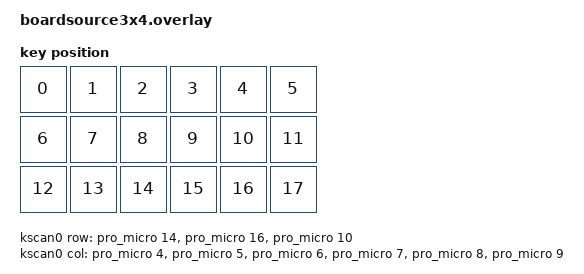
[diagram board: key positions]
/*
 * Copyright (c) 2020 The ZMK Contributors
 *
 * SPDX-License-Identifier: MIT
 */

#include <dt-bindings/zmk/matrix_transform.h>

/ {
    chosen {
        zmk,kscan = &kscan0;
    };

    kscan0: kscan {
        compatible = "zmk,kscan-gpio-matrix";
        wakeup-source;

        diode-direction = "col2row";

         
        row-gpios = <&pro_micro 14 (GPIO_ACTIVE_HIGH | GPIO_PULL_DOWN)>,
                    <&pro_micro 16 (GPIO_ACTIVE_HIGH | GPIO_PULL_DOWN)>,
                    <&pro_micro 10 (GPIO_ACTIVE_HIGH | GPIO_PULL_DOWN)>;

        col-gpios = <&pro_micro 4 GPIO_ACTIVE_HIGH>,
                    <&pro_micro 5 GPIO_ACTIVE_HIGH>,
                    <&pro_micro 6 GPIO_ACTIVE_HIGH>,
                    <&pro_micro 7 GPIO_ACTIVE_HIGH>,
                    <&pro_micro 8 GPIO_ACTIVE_HIGH>,
                    <&pro_micro 9 GPIO_ACTIVE_HIGH>;
            
    };
};

layout: layout {
        compatible = "zmk,physical-layout";
        display-name = "Ortho 3x6";
        transform = <&transform>;
        kscan = <&kscan>;

        keys  //                     w   h    x    y     rot    rx    ry
            = <&key_physical_attrs 100 100    0    0       0     0     0>
            , <&key_physical_attrs 100 100  100    0       0     0     0>
            , <&key_physical_attrs 100 100  200    0       0     0     0>
            , <&key_physical_attrs 100 100  300    0       0     0     0>
            , <&key_physical_attrs 100 100  400    0       0     0     0>
            , <&key_physical_attrs 100 100  500    0       0     0     0>
            , <&key_physical_attrs 100 100    0  100       0     0     0>
            , <&key_physical_attrs 100 100  100  100       0     0     0>
            , <&key_physical_attrs 100 100  200  100       0     0     0>
            , <&key_physical_attrs 100 100  300  100       0     0     0>
            , <&key_physical_attrs 100 100  400  100       0     0     0>
            , <&key_physical_attrs 100 100  500  100       0     0     0>
            , <&key_physical_attrs 100 100    0  200       0     0     0>
            , <&key_physical_attrs 100 100  100  200       0     0     0>
            , <&key_physical_attrs 100 100  200  200       0     0     0>
            , <&key_physical_attrs 100 100  300  200       0     0     0>
            , <&key_physical_attrs 100 100  400  200       0     0     0>
            , <&key_physical_attrs 100 100  500  200       0     0     0>
            ;
    };
};
